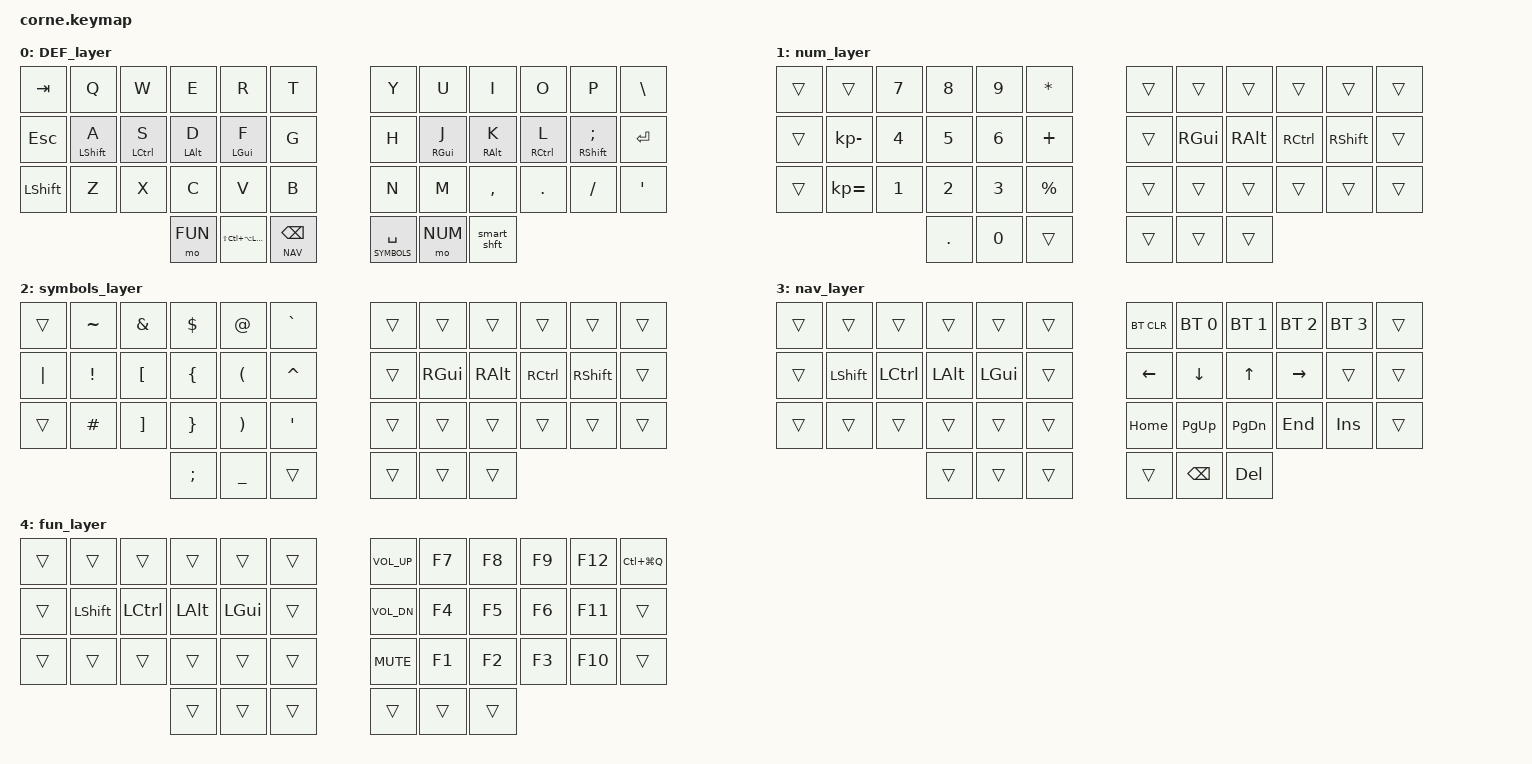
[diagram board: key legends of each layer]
#include <behaviors.dtsi>
#include <dt-bindings/zmk/keys.h>
#include <dt-bindings/zmk/bt.h>
#include <dt-bindings/zmk/outputs.h>

#include "../zmk-nodefree-config/helper.h"
#include "../zmk-nodefree-config/keypos_def/keypos_42keys.h"

#define DEF 0
#define NUM 1
#define SYMBOLS 2
#define NAV 3
#define FUN 4

#include "combos.dtsi"

#define ___ &trans


#define QUICK_TAP_MS 175

#define KEYS_L LT0 LT1 LT2 LT3 LT4 LT5 LM0 LM1 LM2 LM3 LM4 LM5 LB0 LB1 LB2 LB3 LB4 LB5
#define KEYS_R RT0 RT1 RT2 RT3 RT4 RT5 RM0 RM1 RM2 RM3 RM4 RM5 RB0 RB1 RB2 RB3 RB4 RB5
#define THUMBS LH2 LH1 LH0 RH0 RH1 RH2                                     

#define MAKE_HRM(NAME, HOLD, TAP, TRIGGER_POS) \
    ZMK_BEHAVIOR(NAME, hold_tap, \
        flavor = "balanced"; \
        tapping-term-ms = <280>; \
        quick-tap-ms = <QUICK_TAP_MS>; \
        require-prior-idle-ms = <150>; \
        bindings = <HOLD>, <TAP>; \
        hold-trigger-key-positions = <TRIGGER_POS>; \
        hold-trigger-on-release; \
    )
MAKE_HRM(hml, &kp, &kp, KEYS_R THUMBS)  // left-hand HRMs
MAKE_HRM(hmr, &kp, &kp, KEYS_L THUMBS)  // right-hand HRMs

MAKE_HRM(hml_repeat, &kp, &key_repeat, KEYS_R THUMBS)  
MAKE_HRM(hmr_sqt_lt, &kp, &sqt_lt, KEYS_L THUMBS)    
MAKE_HRM(hmr_dqt_gt, &kp, &dqt_gt, KEYS_L THUMBS)   

&sk {  // sticky-key config
    release-after-ms = <900>;  // release after 0.6s
    quick-release;             // no double capitalization when rolling keys
};

&sl {  // sticky-layer config
    ignore-modifiers;          // allow chording sticky mods & layers
};

// tap: sticky-shift | shift + tap/ double-tap: caps-word | hold: shift
ZMK_BEHAVIOR(smart_shft, mod_morph,
    bindings = <&sk LSHFT>, <&caps_word>;
    mods = <(MOD_LSFT)>;
)
&caps_word {  // mods deactivate caps-word, requires PR #1451
    /delete-property/ ignore-modifiers;
};

// reuse basic mod-morph scheme
#define SIMPLE_MORPH(NAME, MOD, BINDING1, BINDING2) \
    ZMK_BEHAVIOR(NAME, mod_morph, \
        mods = <(MOD_L ## MOD|MOD_R ## MOD)>; \
        bindings = <BINDING1>, <BINDING2>; \
    )

SIMPLE_MORPH(sqt_lt, SFT, &kp SQT, &kp LT)
SIMPLE_MORPH(dqt_gt, SFT, &kp DQT, &kp GT)

&lt {  // layer-tap config
    flavor = "balanced";
    tapping-term-ms = <200>;
    quick-tap-ms = <QUICK_TAP_MS>;
};

&sl {  // sticky-layer config
    ignore-modifiers;          // allow chording sticky mods & layers
};

// tap: sticky-shift | shift + tap/ double-tap: caps-word | hold: shift
ZMK_BEHAVIOR(smart_shft, mod_morph,
    bindings = <&sk LSHFT>, <&caps_word>;
    mods = <(MOD_LSFT)>;
)

#define HYPER LS(LC(LA(LGUI)))

ZMK_LAYER(DEF_layer,
     // ╭─────────────┬─────────────┬─────────────┬─────────────┬─────────────┬─────────────╮   ╭─────────────┬─────────────┬─────────────┬─────────────┬─────────────┬─────────────╮
          &kp TAB       &kp Q         &kp W         &kp E         &kp R         &kp T             &kp Y         &kp U         &kp I         &kp O         &kp P           &kp BSLH 
     // ├─────────────┼─────────────┼─────────────┼─────────────┼─────────────┼─────────────┤   ├─────────────┼─────────────┼─────────────┼─────────────┼─────────────┼─────────────┤
          &kp ESC       &hml LSHFT A  &hml LCTRL S  &hml LALT D   &hml LGUI F   &kp G             &kp H         &hmr RGUI J   &hmr RALT K   &hmr RCTRL L  &hmr RSHFT SEMI  &kp ENTER 
     // ├─────────────┼─────────────┼─────────────┼─────────────┼─────────────┼─────────────┤   ├─────────────┼─────────────┼─────────────┼─────────────┼─────────────┼─────────────┤
          &kp LSHFT     &kp Z         &kp X         &kp C         &kp V         &kp B             &kp N         &kp M         &kp COMMA     &kp DOT       &kp FSLH        &kp APOS
     // ├─────────────┼─────────────┼─────────────┼─────────────┼─────────────┼─────────────┤   ├─────────────┼─────────────┼─────────────┼─────────────┼─────────────┼─────────────┤
                                                    &mo FUN       &kp HYPER     &lt NAV BACKSPACE &lt SYMBOLS SPACE &mo NUM    &smart_shft
     //                                           ╰─────────────┴─────────────┴─────────────╯   ╰─────────────┴─────────────┴─────────────╯
)

ZMK_LAYER(num_layer,
    // ╭─────────────┬─────────────┬─────────────┬─────────────┬─────────────┬─────────────╮   ╭─────────────┬─────────────┬─────────────┬─────────────┬─────────────┬─────────────╮
         ___            ___            &kp N7         &kp N8       &kp N9       &kp STAR            ___           ___           ___           ___           ___           ___
    // ├─────────────┼─────────────┼─────────────┼─────────────┼─────────────┼─────────────┤   ├─────────────┼─────────────┼─────────────┼─────────────┼─────────────┼─────────────┤
         ___           &kp KP_MINUS    &kp N4         &kp N5         &kp N6     &kp PLUS            ___           &kp RGUI     &kp RALT       &kp RCTRL     &kp RSHFT     ___
    // ├─────────────┼─────────────┼─────────────┼─────────────┼─────────────┼─────────────┤   ├─────────────┼─────────────┼─────────────┼─────────────┼─────────────┼─────────────┤
         ___           &kp KP_EQUAL    &kp N1         &kp N2         &kp N3     &kp PERCENT      ___           ___           ___           ___           ___           ___
    // ├─────────────┼─────────────┼─────────────┼─────────────┼─────────────┼─────────────┤   ├─────────────┼─────────────┼─────────────┼─────────────┼─────────────┼─────────────┤
                                                       &kp DOT     &kp N0       ___                 ___            ___            ___
    //                                           ╰─────────────┴─────────────┴─────────────╯  ╰─────────────┴─────────────┴─────────────╯
)



ZMK_LAYER(symbols_layer,
     // ╭─────────────┬─────────────┬─────────────┬─────────────┬─────────────┬─────────────╮   ╭─────────────┬─────────────┬─────────────┬─────────────┬─────────────┬─────────────╮
          ___          &kp TILDE     &kp AMPERSAND  &kp DOLLAR    &kp AT        &kp GRAVE          ___             ___             ___             ___          ___            ___ 
     // ├─────────────┼─────────────┼─────────────┼─────────────┼─────────────┼─────────────┤   ├─────────────┼─────────────┼─────────────┼─────────────┼─────────────┼─────────────┤
          &kp PIPE      &kp EXCL     &kp LBKT       &kp LBRC      &kp LPAR      &kp CARET          ___           &kp RGUI     &kp RALT       &kp RCTRL     &kp RSHFT     ___
     // ├─────────────┼─────────────┼─────────────┼─────────────┼─────────────┼─────────────┤   ├─────────────┼─────────────┼─────────────┼─────────────┼─────────────┼─────────────┤
          ___           &kp HASH     &kp RBKT       &kp RBRC      &kp RPAR      &kp APOS           ___            ___           ___           ___          ___            ___ 
     // ├─────────────┼─────────────┼─────────────┼─────────────┼─────────────┼─────────────┤   ├─────────────┼─────────────┼─────────────┼─────────────┼─────────────┼─────────────┤
                                                    &kp SEMI        &kp UNDER      ___             ___            ___            ___ 
     //                                           ╰─────────────┴─────────────┴─────────────╯  ╰─────────────┴─────────────┴─────────────╯
)

ZMK_LAYER(nav_layer,
     // ╭─────────────┬─────────────┬─────────────┬─────────────┬─────────────┬─────────────╮   ╭─────────────┬─────────────┬─────────────┬─────────────┬─────────────┬─────────────╮
          ___            ___            ___            ___            ___          ___            &bt BT_CLR   &bt BT_SEL 0   &bt BT_SEL 1  &bt BT_SEL 2  &bt BT_SEL 3   ___
     // ├─────────────┼─────────────┼─────────────┼─────────────┼─────────────┼─────────────┤   ├─────────────┼─────────────┼─────────────┼─────────────┼─────────────┼─────────────┤
          ___            &kp LSHFT      &kp LCTRL    &kp LALT      &kp LGUI         ___           &kp LEFT_ARROW &kp DOWN_ARROW &kp UP_ARROW &kp RIGHT_ARROW ___          ___
     // ├─────────────┼─────────────┼─────────────┼─────────────┼─────────────┼─────────────┤   ├─────────────┼─────────────┼─────────────┼─────────────┼─────────────┼─────────────┤
          ___              ___          ___            ___          ___            ___            &kp HOME      &kp PAGE_UP  &kp PAGE_DOWN   &kp END      &kp INSERT      ___
     // ├─────────────┼─────────────┼─────────────┼─────────────┼─────────────┼─────────────┤   ├─────────────┼─────────────┼─────────────┼─────────────┼─────────────┼─────────────┤
                                                       ___         ___             ___               ___        &kp BACKSPACE &kp DELETE
     //                                           ╰─────────────┴─────────────┴─────────────╯  ╰─────────────┴─────────────┴─────────────╯
)

ZMK_LAYER(fun_layer,
     // ╭─────────────┬─────────────┬─────────────┬─────────────┬─────────────┬─────────────╮   ╭─────────────┬─────────────┬─────────────┬─────────────┬─────────────┬─────────────╮
          ___            ___            ___            ___            ___            ___            &kp K_VOL_UP   &kp F7         &kp F8        &kp F9      &kp F12       &kp LC(LG(Q)) 
     // ├─────────────┼─────────────┼─────────────┼─────────────┼─────────────┼─────────────┤   ├─────────────┼─────────────┼─────────────┼─────────────┼─────────────┼─────────────┤
          ___            &kp LSHFT     &kp LCTRL     &kp LALT      &kp LGUI         ___             &kp K_VOL_DN   &kp F4         &kp F5        &kp F6      &kp F11       ___
     // ├─────────────┼─────────────┼─────────────┼─────────────┼─────────────┼─────────────┤   ├─────────────┼─────────────┼─────────────┼─────────────┼─────────────┼─────────────┤
          ___            ___            ___           ___           ___              ___            &kp K_MUTE     &kp F1         &kp F2        &kp F3      &kp F10       ___
     // ├─────────────┼─────────────┼─────────────┼─────────────┼─────────────┼─────────────┤   ├─────────────┼─────────────┼─────────────┼─────────────┼─────────────┼─────────────┤
                                                       ___            ___            ___            ___            ___            ___
     //                                           ╰─────────────┴─────────────┴─────────────╯  ╰─────────────┴─────────────┴─────────────╯
)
